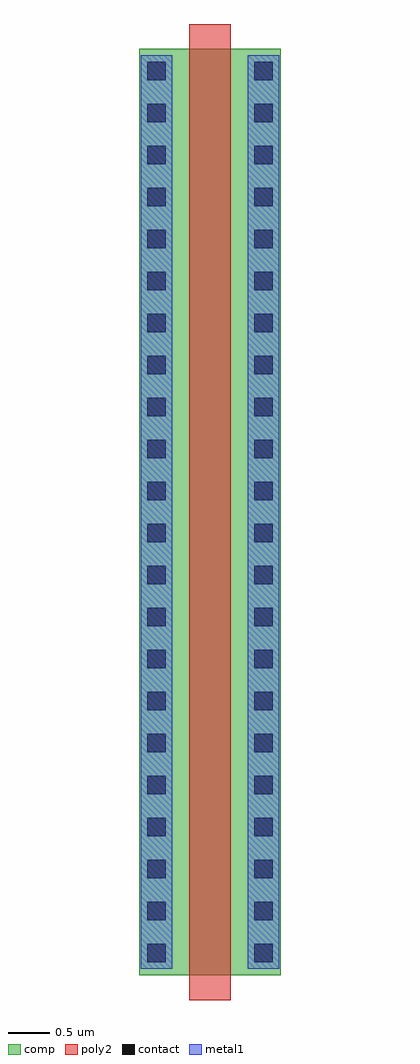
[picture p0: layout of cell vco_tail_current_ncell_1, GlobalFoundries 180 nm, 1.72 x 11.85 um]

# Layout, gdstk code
import gdstk
lib = gdstk.Library(unit=1e-6, precision=5e-09)
def R(c, l, rs):  # rectangles x0, y0, x1, y1
    for r in rs: c.add(gdstk.rectangle(r[:2], r[2:], *l))
def A(c, l, x, y, w, h, nx, ny, dx, dy):  # array of equal rectangles
    R(c, l, [(x+i*dx, y+j*dy, x+i*dx+w, y+j*dy+h) for i in range(nx) for j in range(ny)])
comp = (22, 0)
poly2 = (30, 0)
contact = (33, 0)
metal1 = (34, 0)

vco_tail_current_ncell_1 = lib.new_cell('vco_tail_current_ncell_1')
R(vco_tail_current_ncell_1, comp, [(0,0.3,0.42,11.55), (0.42,0.3,1.3,11.55), (1.3,0.3,1.72,11.55)])
R(vco_tail_current_ncell_1, poly2, [(0.61,0,1.11,11.85)])
A(vco_tail_current_ncell_1, contact, 0.1, 0.46, 0.22, 0.22, 1, 22, 0, 0.51)
A(vco_tail_current_ncell_1, contact, 1.4, 0.46, 0.22, 0.22, 1, 22, 0, 0.51)
R(vco_tail_current_ncell_1, metal1, [(0.02,0.38,0.4,11.47), (1.32,0.38,1.7,11.47)])

lib.write_gds('vco_tail_current_ncell_1.gds')
